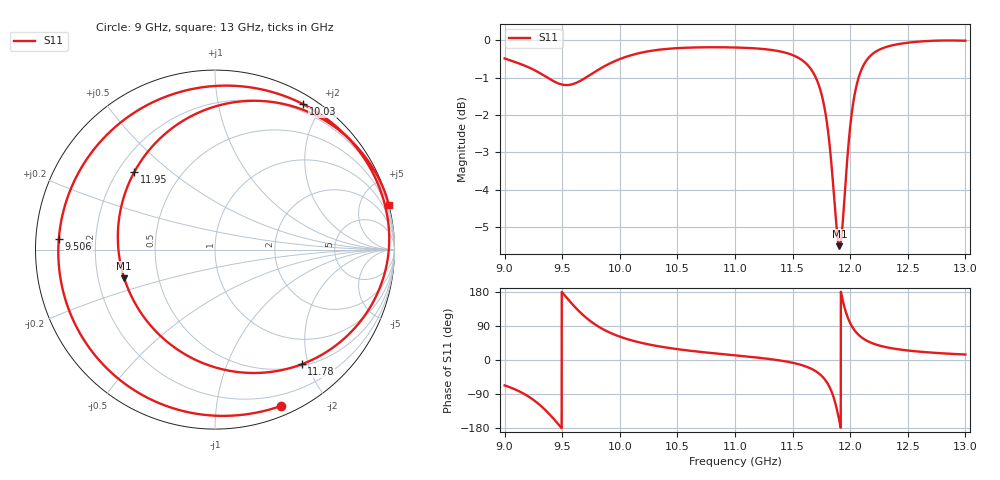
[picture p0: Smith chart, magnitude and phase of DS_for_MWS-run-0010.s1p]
! TOUCHSTONE file generated by CST DESIGN STUDIO
! Date and time: Tue Feb  4 13:58:15 2025
! Project name: C:\Work\MatlabApps\UnitCellOptimizationMatlab\CST\unitcell.cst
! Tree item: Tasks\Sweep1\SPara1\S-Parameters
! Header version: 2024
! Port assignment regex: !\s*Touchstone port\s*([0-9]+)\s*=\s*(CST MWS port|CST DES external port|CST DES block port)\s*(.+)\s* \(\"(.*)\"\)(\s*mode\s*([0-9]+))?.*
! Touchstone port assignment:
! Touchstone port 1 = CST DES external port 1 ("")
# GHz S MA R 50
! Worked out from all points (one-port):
!   4001 points, 9 GHz to 13 GHz, reference 50 ohm
!   lowest |S11| = -5.5 dB at 11.91 GHz (marker M1), VSWR 3.26, Z = 15.7 - j7 ohm
!   |S11| at or under -10 dB: nowhere
!   S11 on the Smith chart (normalised r, x): 9 GHz: 0.09, -1.51; 9.506 GHz: 0.07, +0.03; 10.03 GHz: 0.11, +1.77; 11.78 GHz: 0.53, -1.89; 11.95 GHz: 0.27, +0.38; 13 GHz: 0.03, +7.90
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9  0.9458 -67.0
9.143  0.9292 -85.2
9.289  0.9073 -114.4
9.386  0.8888 -142.0
9.5  0.8726 178.4
9.506  0.8722 176.2
9.614  0.8764 138.6
9.712  0.893 110.5
9.828  0.9162 85.7
10  0.9441 61.6
10.028  0.9476 58.7
10.232  0.966 42.3
10.5  0.9764 28.6
11  0.9783 12.3
11.5  0.9558 -7.3
11.68  0.9048 -25.9
11.784  0.801 -52.9
11.852  0.6404 -94.7
11.879  0.5662 -123.6
11.907  0.5302 -162.4
11.929  0.5554 165.8
11.953  0.6231 136.3
12  0.7667 97.3
12.075  0.8935 65.7
12.164  0.9495 47.9
12.294  0.9778 35.0
12.5  0.9929 25.1
13  0.999 14.4
